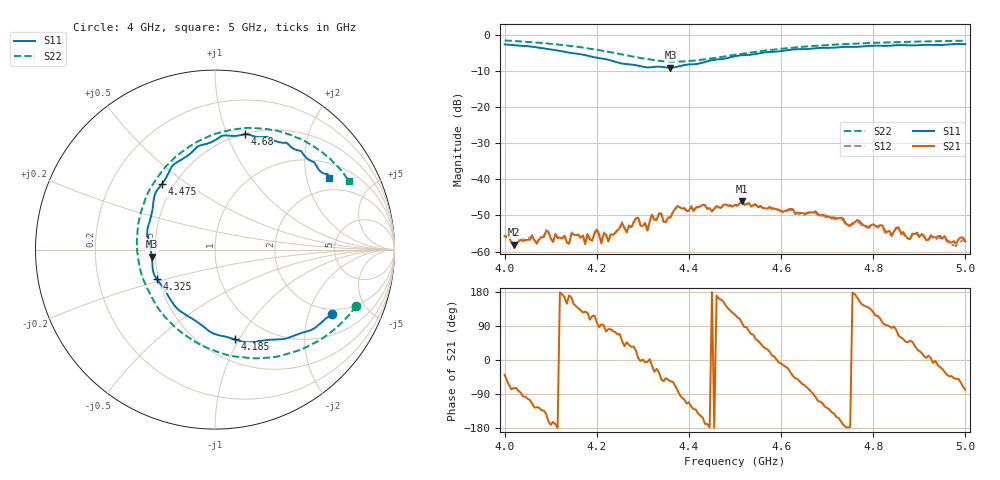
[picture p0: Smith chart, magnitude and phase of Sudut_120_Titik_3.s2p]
# Hz S RI R 50
! CMT, C1220, 16058040, 17.2.0/1
! Date: 15/08/2018 12:38:40
! Data: Format (Calibration Info)
! Freq  S11: Re/Im (F2)  S21: Re/Im (F2)  S12: Re/Im (F2)  S22: Re/Im (F2)
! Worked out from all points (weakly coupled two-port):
!   201 points, 4 GHz to 5 GHz, reference 50 ohm
!   highest |S21| = -46.06 dB at 4.515 GHz (marker M1); lowest = -58.1 dB at 4.02 GHz (marker M2)
!   lowest |S11| = -9.0 dB at 4.36 GHz (marker M3), VSWR 2.10, Z = 23.9 - j2.12 ohm
!   |S11| at or under -10 dB: nowhere
!   |S22| runs from -7.3 to -1.5 dB; largest |S21 - S12| = 0.0002
!   S11 on the Smith chart (normalised r, x): 4 GHz: 1.77, -2.89; 4.185 GHz: 0.71, -0.96; 4.325 GHz: 0.49, -0.18; 4.475 GHz: 0.43, +0.41; 4.68 GHz: 0.50, +1.16; 5 GHz: 1.50, +2.74
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4e9  0.6539 -0.3601  0.00127 -0.00102  0.00132 -0.000977  0.7854 -0.3143
4.02e9  0.6167 -0.3843  0.000352 -0.0012  0.000406 -0.00118  0.7514 -0.3597
4.09e9  0.4361 -0.4811  -0.00151 -0.00118  -0.00155 -0.00125  0.5857 -0.5028
4.105e9  0.3867 -0.4974  -0.0013 -0.000378  -0.00132 -0.000425  0.5404 -0.5269
4.17e9  0.1576 -0.5141  -0.000968 0.00136  -0.00102 0.00136  0.3046 -0.6012
4.185e9  0.1096 -0.4996  -0.000411 0.00141  -0.000415 0.00145  0.2412 -0.6056
4.2e9  0.0546 -0.4843  -0.000325 0.002  -0.000355 0.00201  0.1768 -0.6024
4.21e9  0.0174 -0.4761  -9.49e-05 0.00129  -0.0001 0.00138  0.1327 -0.598
4.225e9  -0.031 -0.4554  0.000208 0.00137  0.00022 0.00136  0.065 -0.5863
4.29e9  -0.2388 -0.2931  0.00294 0.000235  0.00301 0.000247  -0.2098 -0.4429
4.31e9  -0.286 -0.216  0.00194 -0.000183  0.00197 -0.000191  -0.2798 -0.3728
4.325e9  -0.3248 -0.1636  0.00235 -0.00141  0.0024 -0.00152  -0.3264 -0.3116
4.335e9  -0.3421 -0.1314  0.00281 -0.00181  0.00281 -0.00188  -0.3512 -0.2676
4.36e9  -0.352 -0.0388  0.00164 -0.00246  0.00164 -0.00251  -0.4053 -0.1523
4.375e9  -0.3641 0.0315  0.000798 -0.00418  0.000754 -0.0042  -0.4237 -0.0773
4.475e9  -0.295 0.3674  -0.00398 0.00194  -0.00388 0.00211  -0.3374 0.3766
4.5e9  -0.2487 0.4477  -0.00219 0.00387  -0.00205 0.00378  -0.2777 0.4584
4.515e9  -0.2268 0.4769  -0.000695 0.00493  -0.000608 0.00486  -0.2362 0.5012
4.67e9  0.1473 0.6386  2.84e-05 -0.00348  -1.69e-05 -0.00338  0.208 0.6776
4.68e9  0.1656 0.6427  -0.00101 -0.00314  -0.000975 -0.00301  0.2347 0.6757
4.835e9  0.4493 0.5562  3.59e-05 0.00194  -7.35e-06 0.00179  0.551 0.5745
5e9  0.6371 0.3976  0.000273 -0.00135  0.000295 -0.00122  0.7471 0.3817
